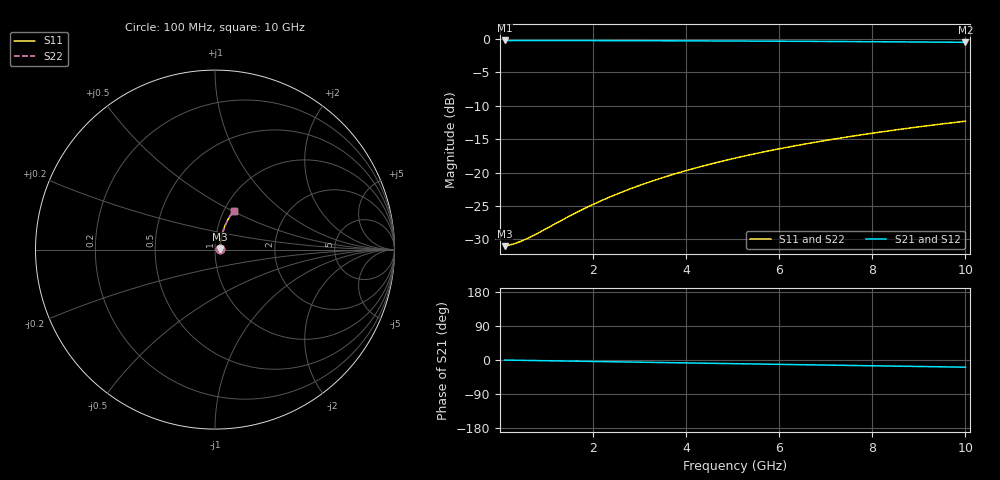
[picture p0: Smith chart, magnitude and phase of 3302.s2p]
# Hz S RI R 50.00
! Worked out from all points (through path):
!   100 points, 100 MHz to 10 GHz, reference 50 ohm
!   highest |S21| = -0.25 dB at 100 MHz (marker M1); lowest = -0.5 dB at 10 GHz (marker M2)
!   group delay of S21, straight-line fit = 5.27 ps
!   lowest |S11| = -31.0 dB at 100 MHz (marker M3), VSWR 1.06, Z = 52.9 + j0.254 ohm
!   |S11| at or under -10 dB: start of sweep to end of sweep
!   |S22| runs from -31.0 to -12.3 dB; largest |S21 - S12| = 0
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1e8  0.028 0.0024  0.972 -0.00327  0.972 -0.00327  0.028 0.0024
2e8  0.0282 0.0048  0.9718 -0.00655  0.9718 -0.00655  0.0282 0.0048
3e8  0.0284 0.0072  0.9716 -0.00982  0.9716 -0.00982  0.0284 0.0072
4e8  0.0286 0.00959  0.9714 -0.0131  0.9714 -0.0131  0.0286 0.00959
6e8  0.0289 0.0144  0.9711 -0.0196  0.9711 -0.0196  0.0289 0.0144
8e8  0.0293 0.0192  0.9707 -0.0262  0.9707 -0.0262  0.0293 0.0192
1.5e9  0.0309 0.0358  0.969 -0.049  0.969 -0.049  0.0309 0.0358
1.8e9  0.0318 0.043  0.9681 -0.0587  0.9681 -0.0587  0.0318 0.043
2.2e9  0.0332 0.0524  0.9666 -0.0717  0.9666 -0.0717  0.0332 0.0524
2.6e9  0.0349 0.0618  0.9649 -0.0846  0.9649 -0.0846  0.0349 0.0618
3e9  0.0368 0.0711  0.9629 -0.0974  0.9629 -0.0974  0.0368 0.0711
3.4e9  0.0389 0.0804  0.9606 -0.1102  0.9606 -0.1102  0.0389 0.0804
3.8e9  0.0412 0.0896  0.9582 -0.1229  0.9582 -0.1229  0.0412 0.0896
4.2e9  0.0438 0.0987  0.9554 -0.1355  0.9554 -0.1355  0.0438 0.0987
4.6e9  0.0467 0.1078  0.9525 -0.1481  0.9525 -0.1481  0.0467 0.1078
5.1e9  0.0506 0.1189  0.9484 -0.1636  0.9484 -0.1636  0.0506 0.1189
5.9e9  0.0575 0.1364  0.9411 -0.1881  0.9411 -0.1881  0.0575 0.1364
6.7e9  0.0653 0.1534  0.9329 -0.2122  0.9329 -0.2122  0.0653 0.1534
7.5e9  0.0739 0.1699  0.9239 -0.2357  0.9239 -0.2357  0.0739 0.1699
8.4e9  0.0845 0.1878  0.9126 -0.2615  0.9126 -0.2615  0.0845 0.1878
9.2e9  0.0948 0.203  0.9018 -0.2839  0.9018 -0.2839  0.0948 0.203
1e10  0.1057 0.2176  0.8903 -0.3055  0.8903 -0.3055  0.1057 0.2176
